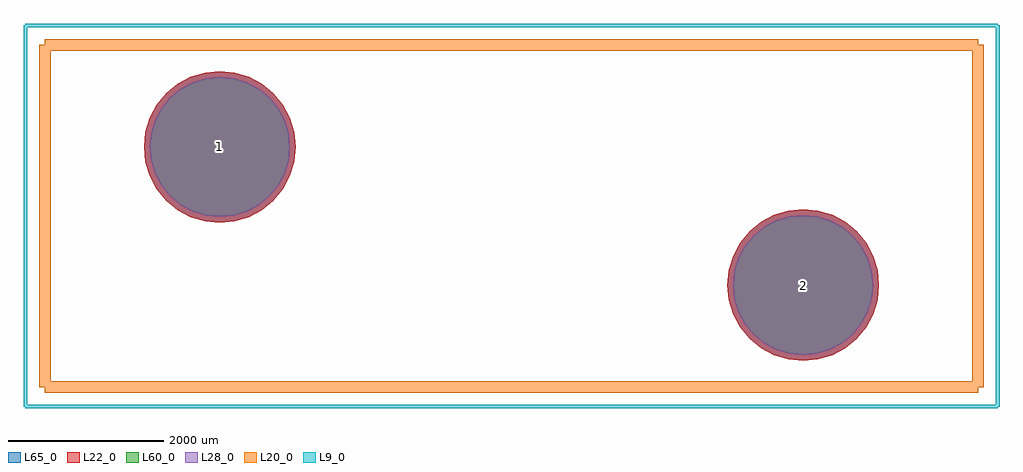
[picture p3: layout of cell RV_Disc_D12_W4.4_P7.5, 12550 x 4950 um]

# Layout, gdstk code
import gdstk
lib = gdstk.Library(unit=1e-6, precision=1e-09)
def P(c, l, *ps):  # polygons
    for p in ps: c.add(gdstk.Polygon(p, *l))
L9_0 = (9, 0)
L20_0 = (20, 0)
L22_0 = (22, 0)
L28_0 = (28, 0)
L60_0 = (60, 0)
L65_0 = (65, 0)

rv_disc_d12_w4_4_p7_5 = lib.new_cell('RV_Disc_D12_W4.4_P7.5')
P(rv_disc_d12_w4_4_p7_5, L22_0, [(8475,-1775),(8456.266,-1584.787),(8400.783,-1401.884),(8310.683,-1233.319),(8189.429,-1085.571),(8041.681,-964.317),(7873.116,-874.217),(7690.213,-818.734),(7500,-800),(7309.787,-818.734),(7126.884,-874.217),(6958.319,-964.317),(6810.571,-1085.571),(6689.317,-1233.319),(6599.217,-1401.884),(6543.734,-1584.787),(6525,-1775),(6543.734,-1965.213),(6599.217,-2148.116),(6689.317,-2316.681),(6810.571,-2464.429),(6958.319,-2585.683),(7126.884,-2675.783),(7309.787,-2731.266),(7500,-2750),(7690.213,-2731.266),(7873.116,-2675.783),(8041.681,-2585.683),(8189.429,-2464.429),(8310.683,-2316.681),(8400.783,-2148.116),(8456.266,-1965.213)],
  [(975,0),(956.266,190.213),(900.783,373.116),(810.683,541.681),(689.429,689.429),(541.681,810.683),(373.116,900.783),(190.213,956.266),(0,975),(-190.213,956.266),(-373.116,900.783),(-541.681,810.683),(-689.429,689.429),(-810.683,541.681),(-900.783,373.116),(-956.266,190.213),(-975,0),(-956.266,-190.213),(-900.783,-373.116),(-810.683,-541.681),(-689.429,-689.429),(-541.681,-810.683),(-373.116,-900.783),(-190.213,-956.266),(0,-975),(190.213,-956.266),(373.116,-900.783),(541.681,-810.683),(689.429,-689.429),(810.683,-541.681),(900.783,-373.116),(956.266,-190.213)])
P(rv_disc_d12_w4_4_p7_5, L28_0, [(8400,-1775),(8382.707,-1599.419),(8331.492,-1430.585),(8248.323,-1274.987),(8136.396,-1138.604),(8000.013,-1026.677),(7844.415,-943.508),(7675.581,-892.293),(7500,-875),(7324.419,-892.293),(7155.585,-943.508),(6999.987,-1026.677),(6863.604,-1138.604),(6751.677,-1274.987),(6668.508,-1430.585),(6617.293,-1599.419),(6600,-1775),(6617.293,-1950.581),(6668.508,-2119.415),(6751.677,-2275.013),(6863.604,-2411.396),(6999.987,-2523.323),(7155.585,-2606.492),(7324.419,-2657.707),(7500,-2675),(7675.581,-2657.707),(7844.415,-2606.492),(8000.013,-2523.323),(8136.396,-2411.396),(8248.323,-2275.013),(8331.492,-2119.415),(8382.707,-1950.581)],
  [(900,0),(882.707,175.581),(831.492,344.415),(748.323,500.013),(636.396,636.396),(500.013,748.323),(344.415,831.492),(175.581,882.707),(0,900),(-175.581,882.707),(-344.415,831.492),(-500.013,748.323),(-636.396,636.396),(-748.323,500.013),(-831.492,344.415),(-882.707,175.581),(-900,0),(-882.707,-175.581),(-831.492,-344.415),(-748.323,-500.013),(-636.396,-636.396),(-500.013,-748.323),(-344.415,-831.492),(-175.581,-882.707),(0,-900),(175.581,-882.707),(344.415,-831.492),(500.013,-748.323),(636.396,-636.396),(748.323,-500.013),(831.492,-344.415),(882.707,-175.581)])
P(rv_disc_d12_w4_4_p7_5, L60_0, [(8400,-1775),(8382.707,-1599.419),(8331.492,-1430.585),(8248.323,-1274.987),(8136.396,-1138.604),(8000.013,-1026.677),(7844.415,-943.508),(7675.581,-892.293),(7500,-875),(7324.419,-892.293),(7155.585,-943.508),(6999.987,-1026.677),(6863.604,-1138.604),(6751.677,-1274.987),(6668.508,-1430.585),(6617.293,-1599.419),(6600,-1775),(6617.293,-1950.581),(6668.508,-2119.415),(6751.677,-2275.013),(6863.604,-2411.396),(6999.987,-2523.323),(7155.585,-2606.492),(7324.419,-2657.707),(7500,-2675),(7675.581,-2657.707),(7844.415,-2606.492),(8000.013,-2523.323),(8136.396,-2411.396),(8248.323,-2275.013),(8331.492,-2119.415),(8382.707,-1950.581)],
  [(900,0),(882.707,175.581),(831.492,344.415),(748.323,500.013),(636.396,636.396),(500.013,748.323),(344.415,831.492),(175.581,882.707),(0,900),(-175.581,882.707),(-344.415,831.492),(-500.013,748.323),(-636.396,636.396),(-748.323,500.013),(-831.492,344.415),(-882.707,175.581),(-900,0),(-882.707,-175.581),(-831.492,-344.415),(-748.323,-500.013),(-636.396,-636.396),(-500.013,-748.323),(-344.415,-831.492),(-175.581,-882.707),(0,-900),(175.581,-882.707),(344.415,-831.492),(500.013,-748.323),(636.396,-636.396),(748.323,-500.013),(831.492,-344.415),(882.707,-175.581)])
P(rv_disc_d12_w4_4_p7_5, L65_0, [(8475,-1775),(8456.266,-1584.787),(8400.783,-1401.884),(8310.683,-1233.319),(8189.429,-1085.571),(8041.681,-964.317),(7873.116,-874.217),(7690.213,-818.734),(7500,-800),(7309.787,-818.734),(7126.884,-874.217),(6958.319,-964.317),(6810.571,-1085.571),(6689.317,-1233.319),(6599.217,-1401.884),(6543.734,-1584.787),(6525,-1775),(6543.734,-1965.213),(6599.217,-2148.116),(6689.317,-2316.681),(6810.571,-2464.429),(6958.319,-2585.683),(7126.884,-2675.783),(7309.787,-2731.266),(7500,-2750),(7690.213,-2731.266),(7873.116,-2675.783),(8041.681,-2585.683),(8189.429,-2464.429),(8310.683,-2316.681),(8400.783,-2148.116),(8456.266,-1965.213)],
  [(975,0),(956.266,190.213),(900.783,373.116),(810.683,541.681),(689.429,689.429),(541.681,810.683),(373.116,900.783),(190.213,956.266),(0,975),(-190.213,956.266),(-373.116,900.783),(-541.681,810.683),(-689.429,689.429),(-810.683,541.681),(-900.783,373.116),(-956.266,190.213),(-975,0),(-956.266,-190.213),(-900.783,-373.116),(-810.683,-541.681),(-689.429,-689.429),(-541.681,-810.683),(-373.116,-900.783),(-190.213,-956.266),(0,-975),(190.213,-956.266),(373.116,-900.783),(541.681,-810.683),(689.429,-689.429),(810.683,-541.681),(900.783,-373.116),(956.266,-190.213)])
rv_disc_d12_w4_4_p7_5.add(gdstk.FlexPath([(-2250,1312.5),(-2250,-3087.5)], 149.998, ends="flush", simple_path=True, layer=20, datatype=0))  # L20_0
rv_disc_d12_w4_4_p7_5.add(gdstk.FlexPath([(9750,1312.5),(9750,-3087.5)], 149.998, ends="flush", simple_path=True, layer=20, datatype=0))  # L20_0
rv_disc_d12_w4_4_p7_5.add(gdstk.FlexPath([(-2250,1312.5),(9750,1312.5)], 149.998, ends="flush", simple_path=True, layer=20, datatype=0))  # L20_0
rv_disc_d12_w4_4_p7_5.add(gdstk.FlexPath([(-2250,-3087.5),(9750,-3087.5)], 149.998, ends="flush", simple_path=True, layer=20, datatype=0))  # L20_0
rv_disc_d12_w4_4_p7_5.add(gdstk.FlexPath([(-2500,1562.5),(-2500,-3337.5)], 50, ends="flush", simple_path=True, layer=9, datatype=0))  # L9_0
rv_disc_d12_w4_4_p7_5.add(gdstk.FlexPath([(10000,1562.5),(10000,-3337.5)], 50, ends="flush", simple_path=True, layer=9, datatype=0))  # L9_0
rv_disc_d12_w4_4_p7_5.add(gdstk.FlexPath([(-2500,1562.5),(10000,1562.5)], 50, ends="flush", simple_path=True, layer=9, datatype=0))  # L9_0
rv_disc_d12_w4_4_p7_5.add(gdstk.FlexPath([(-2500,-3337.5),(10000,-3337.5)], 50, ends="flush", simple_path=True, layer=9, datatype=0))  # L9_0
rv_disc_d12_w4_4_p7_5.add(gdstk.Label('2', (7500,-1775), layer=28, texttype=0))
rv_disc_d12_w4_4_p7_5.add(gdstk.Label('1', (0,0), layer=28, texttype=0))
rv_disc_d12_w4_4_p7_5.add(gdstk.Label('type', (3750,2312.5), layer=9, texttype=0))
rv_disc_d12_w4_4_p7_5.add(gdstk.Label('devicename', (3750,-4087.5), layer=9, texttype=0))

lib.write_gds('RV_Disc_D12_W4.4_P7.5.gds')
